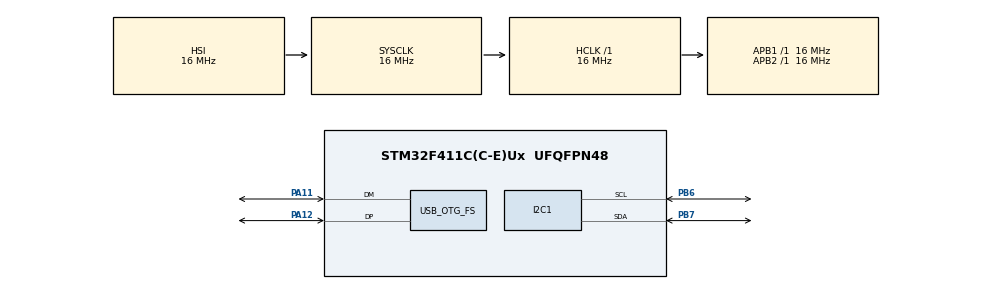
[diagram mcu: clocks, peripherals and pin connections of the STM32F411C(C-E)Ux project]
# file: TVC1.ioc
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Mcu.Family=STM32F4
Mcu.Name=STM32F411C(C-E)Ux
Mcu.Package=UFQFPN48
NVIC.OTG_FS_IRQn=true\:0\:0\:false\:false\:true\:false\:true\:true
NVIC.PriorityGroup=NVIC_PRIORITYGROUP_4
PA11.Mode=Device_Only
PA11.Signal=USB_OTG_FS_DM
PA12.Mode=Device_Only
PA12.Signal=USB_OTG_FS_DP
PB6.Mode=I2C
PB6.Signal=I2C1_SCL
PB7.Mode=I2C
PB7.Signal=I2C1_SDA
PH0\ -\ OSC_IN.Mode=HSE-External-Oscillator
PH0\ -\ OSC_IN.Signal=RCC_OSC_IN
PH1\ -\ OSC_OUT.Mode=HSE-External-Oscillator
PH1\ -\ OSC_OUT.Signal=RCC_OSC_OUT
ProjectManager.HeapSize=0x200
ProjectManager.StackSize=0x400
ProjectManager.TargetToolchain=CMake
RCC.48MHZClocksFreq_Value=48000000
RCC.AHBFreq_Value=16000000
RCC.APB1Freq_Value=16000000
RCC.APB2Freq_Value=16000000
RCC.CortexFreq_Value=16000000
RCC.HSE_VALUE=25000000
RCC.HSI_VALUE=16000000
RCC.LSE_VALUE=32768
RCC.PLLM=15
RCC.PLLN=144
RCC.PLLQ=5
RCC.SYSCLKFreq_VALUE=16000000
RCC.VCOOutputFreq_Value=240000000
USB_DEVICE.CLASS_NAME_FS=CDC
USB_DEVICE.VirtualMode=Cdc
USB_DEVICE.VirtualModeFS=Cdc_FS
USB_OTG_FS.VirtualMode=Device_Only
VP_RTC_VS_RTC_Activate.Mode=RTC_Enabled
VP_USB_DEVICE_VS_USB_DEVICE_CDC_FS.Mode=CDC_FS
board=custom

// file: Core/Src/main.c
/* USER CODE BEGIN Header */
/**
  ******************************************************************************
  * @file           : main.c
  * @brief          : Main program body
  ******************************************************************************
  * @attention
  *
  * Copyright (c) 2025 STMicroelectronics.
  * All rights reserved.
  *
  * This software is licensed under terms that can be found in the LICENSE file
  * in the root directory of this software component.
  * If no LICENSE file comes with this software, it is provided AS-IS.
  *
  ******************************************************************************
  */

/* USER CODE END Header */
#include "main.h"
#include "usb_device.h"

/* USER CODE BEGIN Includes */
#include "I2C.h"
#include "uart.h"
#include <stdio.h>
#include <stdlib.h>
#include "imu.h"
#include <math.h>
#include "kalman.h"

/* USER CODE END Includes */

/* USER CODE BEGIN PD */
#define mpuAddr 0x68
#define BAUD 115200
/* USER CODE END PD */

I2C_HandleTypeDef hi2c1;

RTC_HandleTypeDef hrtc;

void SystemClock_Config(void);
static void MX_GPIO_Init(void);
static void MX_I2C1_Init(void);
static void MX_RTC_Init(void);

int main(void)
{

  /* MCU Configuration--------------------------------------------------------*/

  /* Reset of all peripherals, Initializes the Flash interface and the Systick. */
  HAL_Init();

  /* Configure the system clock */
  SystemClock_Config();

  /* Initialize all configured peripherals */
  MX_GPIO_Init();
  MX_I2C1_Init();
  MX_RTC_Init();
  MX_USB_DEVICE_Init();
  HAL_Delay(1000);
  imu_init();
  uartPrintln("IMU initialized");
  /* USER CODE BEGIN 2 */

  // Initialize Kalman filter
  KalmanFilter kf;
  kalman_init(&kf, 0.005f);  // 5ms time step for 200Hz

  float gx = 0, gy = 0, gz = 0;
  float roll = 0, pitch = 0, yaw = 0;
  float roll_rate = 0, pitch_rate = 0, yaw_rate = 0;
  uint32_t last_time = HAL_GetTick();
  float dt = 0;

  while (1)
  {
    getGyro(&gx, &gy, &gz);

    // Calculate time step
    uint32_t current_time = HAL_GetTick();
    dt = (current_time - last_time) / 1000.0f;
    last_time = current_time;

    // Update Kalman filter
    kalman_predict(&kf);
    kalman_update_gyro(&kf, gx, gy, gz);
    kalman_get_state(&kf, &roll, &pitch, &yaw, &roll_rate, &pitch_rate, &yaw_rate);

    // Print state estimates
    char str[120];
    sprintf(str, "Roll: %.3f Pitch: %.3f Yaw: %.3f Roll Rate: %.3f Pitch Rate: %.3f Yaw Rate: %.3f dt: %.3f",
            roll, pitch, yaw, roll_rate, pitch_rate, yaw_rate, dt);
    uartPrintln(str);

    // Add delay to maintain 200Hz
    uint32_t elapsed = HAL_GetTick() - current_time;
    if(elapsed < 5) {  // 5ms = 200Hz
        HAL_Delay(5 - elapsed);
    }
  }
  /* USER CODE END 2 */
}

void SystemClock_Config(void)
{
  RCC_OscInitTypeDef RCC_OscInitStruct = {0};
  RCC_ClkInitTypeDef RCC_ClkInitStruct = {0};

  /** Configure the main internal regulator output voltage
  */
  __HAL_RCC_PWR_CLK_ENABLE();
  __HAL_PWR_VOLTAGESCALING_CONFIG(PWR_REGULATOR_VOLTAGE_SCALE1);

  /** Initializes the RCC Oscillators according to the specified parameters
  * in the RCC_OscInitTypeDef structure.
  */
  RCC_OscInitStruct.OscillatorType = RCC_OSCILLATORTYPE_HSI|RCC_OSCILLATORTYPE_LSI
                              |RCC_OSCILLATORTYPE_HSE;
  RCC_OscInitStruct.HSEState = RCC_HSE_ON;
  RCC_OscInitStruct.HSIState = RCC_HSI_ON;
  RCC_OscInitStruct.HSICalibrationValue = RCC_HSICALIBRATION_DEFAULT;
  RCC_OscInitStruct.LSIState = RCC_LSI_ON;
  RCC_OscInitStruct.PLL.PLLState = RCC_PLL_ON;
  RCC_OscInitStruct.PLL.PLLSource = RCC_PLLSOURCE_HSE;
  RCC_OscInitStruct.PLL.PLLM = 15;
  RCC_OscInitStruct.PLL.PLLN = 144;
  RCC_OscInitStruct.PLL.PLLP = RCC_PLLP_DIV2;
  RCC_OscInitStruct.PLL.PLLQ = 5;
  if (HAL_RCC_OscConfig(&RCC_OscInitStruct) != HAL_OK)
  {
    Error_Handler();
  }

  /** Initializes the CPU, AHB and APB buses clocks
  */
  RCC_ClkInitStruct.ClockType = RCC_CLOCKTYPE_HCLK|RCC_CLOCKTYPE_SYSCLK
                              |RCC_CLOCKTYPE_PCLK1|RCC_CLOCKTYPE_PCLK2;
  RCC_ClkInitStruct.SYSCLKSource = RCC_SYSCLKSOURCE_HSI;
  RCC_ClkInitStruct.AHBCLKDivider = RCC_SYSCLK_DIV1;
  RCC_ClkInitStruct.APB1CLKDivider = RCC_HCLK_DIV1;
  RCC_ClkInitStruct.APB2CLKDivider = RCC_HCLK_DIV1;

  if (HAL_RCC_ClockConfig(&RCC_ClkInitStruct, FLASH_LATENCY_0) != HAL_OK)
  {
    Error_Handler();
  }
}

static void MX_I2C1_Init(void)
{

  hi2c1.Instance = I2C1;
  hi2c1.Init.ClockSpeed = 100000;
  hi2c1.Init.DutyCycle = I2C_DUTYCYCLE_2;
  hi2c1.Init.OwnAddress1 = 0;
  hi2c1.Init.AddressingMode = I2C_ADDRESSINGMODE_7BIT;
  hi2c1.Init.DualAddressMode = I2C_DUALADDRESS_DISABLE;
  hi2c1.Init.OwnAddress2 = 0;
  hi2c1.Init.GeneralCallMode = I2C_GENERALCALL_DISABLE;
  hi2c1.Init.NoStretchMode = I2C_NOSTRETCH_DISABLE;
  if (HAL_I2C_Init(&hi2c1) != HAL_OK)
  {
    Error_Handler();
  }

}

static void MX_RTC_Init(void)
{

  /** Initialize RTC Only
  */
  hrtc.Instance = RTC;
  hrtc.Init.HourFormat = RTC_HOURFORMAT_24;
  hrtc.Init.AsynchPrediv = 127;
  hrtc.Init.SynchPrediv = 255;
  hrtc.Init.OutPut = RTC_OUTPUT_DISABLE;
  hrtc.Init.OutPutPolarity = RTC_OUTPUT_POLARITY_HIGH;
  hrtc.Init.OutPutType = RTC_OUTPUT_TYPE_OPENDRAIN;
  if (HAL_RTC_Init(&hrtc) != HAL_OK)
  {
    Error_Handler();
  }

}

static void MX_GPIO_Init(void)
{

  /* GPIO Ports Clock Enable */
  __HAL_RCC_GPIOH_CLK_ENABLE();
  __HAL_RCC_GPIOA_CLK_ENABLE();
  __HAL_RCC_GPIOB_CLK_ENABLE();

}

void Error_Handler(void)
{
  __disable_irq();
  while (1)
  {
  }
}
